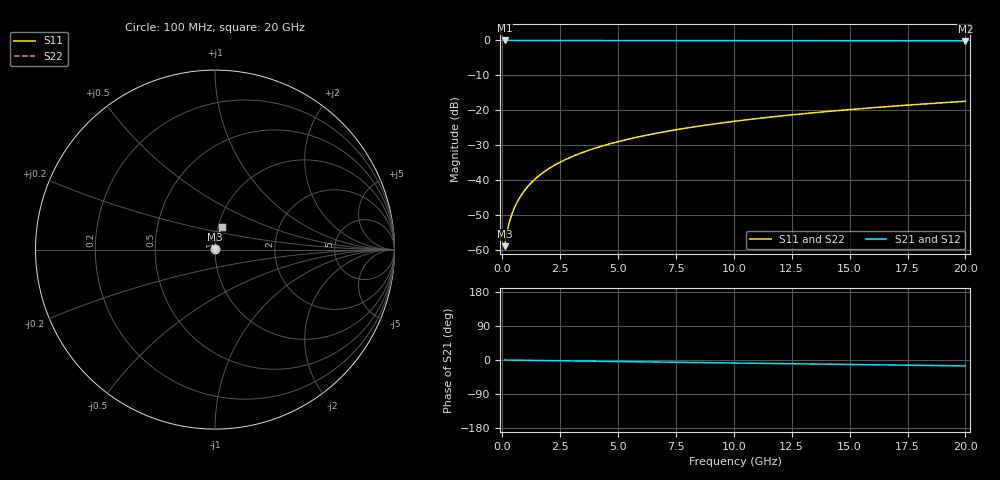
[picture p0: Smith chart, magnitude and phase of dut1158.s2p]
! Touchstone file exported from HFSS 2026.1.0
!  File:  C:/ffzhzh/LocalFiles/Ansys_Project_Files/temp_train_TMRDL_1158_1783162246_51560.aedt
!  Generated:  06:51:58 PM Jul  4, 2026
!  Design:  TMRDL
!  Project:  temp_train_TMRDL_1158_1783162246_51560
! Variables:
!  h_bsmrdl = 2um
!  h_ox = 20um
!  h_rdl = 5um
!  h_sub = 80um
!  h_tmrdl = 4.35um
!  h_tsv = 80um
!  h_via = 3um
!  l_bsmrdl = 300um
!  l_sub = 604.55um
!  l_tmrdl = 204.55um
!  m_sub = 200um
!  pitch = 52.18um
!  r_tsv = 6um
!  s_tmrdl = 10um
!  w_bsmrdl = 18um
!  w_sub = 500um
!  w_tmrdl = 29.42um
!  x_tsv_center1 = 219.26um
!  x_tsv_center2 = 537.26um
!  x_tsv_center3 = 771.23um
!  x_tsv_center4 = 1089.23um
!  x_tsv_center5 = 1323.2um
!  x_tsv_center6 = 1641.2um
# GHz S MA R 50.000000
! Terminal data exported
! Port[1] = TM_RDL1_1_T1
! Port[2] = TM_RDL1_1_T2
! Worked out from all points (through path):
!   200 points, 100 MHz to 20 GHz, reference 50 ohm
!   highest |S21| = -0.01 dB at 100 MHz (marker M1); lowest = -0.1 dB at 20 GHz (marker M2)
!   group delay of S21, straight-line fit = 2.17 ps
!   lowest |S11| = -59.0 dB at 100 MHz (marker M3), VSWR 1.00, Z = 50.1 + j0.0808 ohm
!   |S11| at or under -10 dB: start of sweep to end of sweep
!   |S22| runs from -59.0 to -17.5 dB; largest |S21 - S12| = 3.3e-15
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0.1  0.001123 45.9  0.9992 -0.1  0.9992 -0.1  0.001123 45.9
! Gamma 0 0 0 0
! Port Impedance 50 0 50 0
0.2  0.001774 61.4  0.9992 -0.2  0.9992 -0.2  0.001774 61.4
0.3  0.002447 68.3  0.9991 -0.2  0.9991 -0.2  0.002447 68.3
0.4  0.003128 72.4  0.9991 -0.3  0.9991 -0.3  0.003128 72.4
0.5  0.003816 75.2  0.999 -0.4  0.999 -0.4  0.003816 75.2
0.6  0.004511 77.1  0.999 -0.5  0.999 -0.5  0.004511 77.1
0.8  0.005915 79.7  0.999 -0.7  0.999 -0.7  0.005915 79.7
1.1  0.00804 81.7  0.9989 -0.9  0.9989 -0.9  0.00804 81.7
1.5  0.01089 83.0  0.9988 -1.2  0.9988 -1.2  0.01089 83.0
1.8  0.01302 83.5  0.9988 -1.5  0.9988 -1.5  0.01302 83.5
2.1  0.01515 83.7  0.9987 -1.7  0.9987 -1.7  0.01515 83.7
2.7  0.01939 83.8  0.9985 -2.2  0.9985 -2.2  0.01939 83.8
3.5  0.025 83.7  0.9981 -2.8  0.9981 -2.8  0.025 83.6
4.2  0.02986 83.3  0.9978 -3.4  0.9978 -3.4  0.02986 83.3
5  0.03538 82.9  0.9975 -4.0  0.9975 -4.0  0.03538 82.9
5.9  0.04154 82.3  0.997 -4.7  0.997 -4.7  0.04154 82.3
6.8  0.04766 81.8  0.9965 -5.4  0.9965 -5.4  0.04766 81.8
8.3  0.05777 80.8  0.9957 -6.6  0.9957 -6.6  0.05777 80.8
10.1  0.06981 79.6  0.9946 -8.0  0.9946 -8.0  0.06981 79.6
13.4  0.09161 77.3  0.9924 -10.6  0.9924 -10.6  0.09162 77.3
16.7  0.1131 75.0  0.9898 -13.1  0.9898 -13.1  0.1131 74.9
20  0.1341 72.6  0.9868 -15.6  0.9868 -15.6  0.1341 72.6
